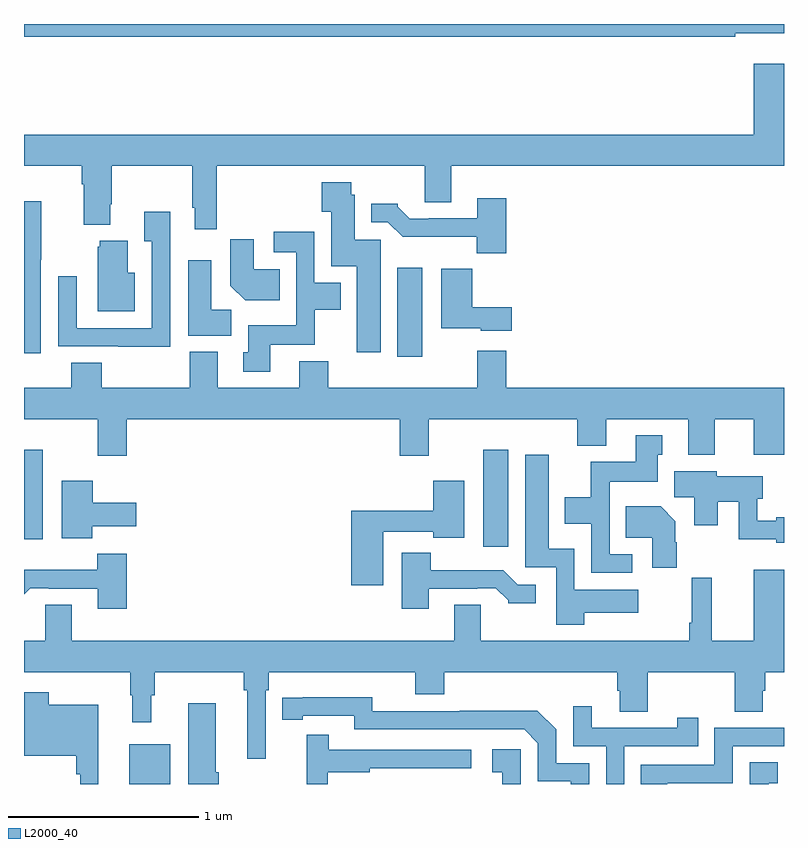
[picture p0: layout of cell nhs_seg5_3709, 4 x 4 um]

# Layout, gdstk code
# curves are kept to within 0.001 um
import gdstk
lib = gdstk.Library(unit=1e-6, precision=1e-09)
def R(c, l, rs):  # rectangles x0, y0, x1, y1
    for r in rs: c.add(gdstk.rectangle(r[:2], r[2:], *l))
def P(c, l, *ps):  # polygons
    for p in ps: c.add(gdstk.Polygon(p, *l))
L2000_40 = (2000, 40)

nhs_seg5_3709 = lib.new_cell('nhs_seg5_3709')
R(nhs_seg5_3709, L2000_40, [(329.555,894.799,329.77,895.009), (331.418,896.049,331.549,896.557), (329,896.088,329.098,896.557), (330.965,897.048,331.096,897.517)])
P(nhs_seg5_3709, L2000_40, [(332.744,898.751),(333,898.751),(333,898.799),(329,898.799),(329,898.732),(332.744,898.732)],
  [(330.014,898.052),(331.109,898.052),(331.109,897.862),(331.249,897.862),(331.249,898.052),(333,898.052),(333,898.591),(332.84,898.591),(332.84,898.216),(329,898.216),(329,898.052),(329.303,898.052),(329.303,897.956),(329.315,897.956),(329.315,897.743),(329.455,897.743),(329.455,897.85),(329.463,897.85),(329.463,898.052),(329.886,898.052),(329.886,897.832),(329.898,897.832),(329.898,897.72),(330.014,897.72)],
  [(330.877,897.663),(330.742,897.663),(330.742,897.9),(330.723,897.9),(330.723,897.967),(330.566,897.967),(330.566,897.811),(330.617,897.811),(330.617,897.524),(330.752,897.524),(330.752,897.072),(330.877,897.072)],
  [(331.538,897.883),(331.385,897.883),(331.385,897.777),(331.129,897.777),(331.129,897.774),(331.03,897.774),(330.966,897.838),(330.966,897.853),(330.827,897.853),(330.827,897.756),(330.915,897.756),(330.994,897.678),(331.383,897.678),(331.383,897.593),(331.538,897.593)],
  [(329.088,897.559),(329.091,897.559),(329.091,897.866),(329,897.866),(329,897.066),(329.088,897.066)],
  [(329.769,897.811),(329.633,897.811),(329.633,897.655),(329.673,897.655),(329.673,897.198),(329.277,897.198),(329.277,897.472),(329.181,897.472),(329.181,897.102),(329.497,897.102),(329.497,897.101),(329.769,897.101)],
  [(330.295,897.11),(330.531,897.11),(330.531,897.296),(330.667,897.296),(330.667,897.436),(330.528,897.436),(330.528,897.706),(330.315,897.706),(330.315,897.597),(330.432,897.597),(330.432,897.214),(330.179,897.214),(330.179,897.072),(330.155,897.072),(330.155,896.97),(330.295,896.97)],
  [(330.347,897.508),(330.208,897.508),(330.208,897.667),(330.086,897.667),(330.086,897.422),(330.164,897.344),(330.347,897.344)],
  [(329.584,897.49),(329.545,897.49),(329.545,897.658),(329.399,897.658),(329.399,897.627),(329.387,897.627),(329.387,897.287),(329.584,897.287)],
  [(330.091,897.296),(329.986,897.296),(329.986,897.556),(329.864,897.556),(329.864,897.158),(330.091,897.158)],
  [(331.567,897.307),(331.358,897.307),(331.358,897.511),(331.196,897.511),(331.196,897.197),(331.404,897.197),(331.404,897.185),(331.567,897.185)],
  [(331.538,897.079),(331.385,897.079),(331.385,896.884),(330.602,896.884),(330.602,897.025),(330.449,897.025),(330.449,896.884),(330.019,896.884),(330.019,897.073),(329.872,897.073),(329.872,896.884),(329.409,896.884),(329.409,897.017),(329.249,897.017),(329.249,896.884),(329,896.884),(329,896.72),(329.387,896.72),(329.387,896.526),(329.54,896.526),(329.54,896.72),(330.977,896.72),(330.977,896.526),(331.129,896.526),(331.129,896.72),(331.913,896.72),(331.913,896.579),(332.065,896.579),(332.065,896.72),(332.495,896.72),(332.495,896.531),(332.635,896.531),(332.635,896.72),(332.84,896.72),(332.84,896.532),(333,896.532),(333,896.884),(331.538,896.884)],
  [(332.2,896.007),(332.082,896.007),(332.082,896.39),(332.335,896.39),(332.335,896.532),(332.359,896.532),(332.359,896.635),(332.219,896.635),(332.219,896.494),(331.984,896.494),(331.984,896.308),(331.847,896.308),(331.847,896.168),(331.986,896.168),(331.986,895.911),(332.2,895.911)],
  [(331.949,895.7),(332.233,895.7),(332.233,895.822),(331.896,895.822),(331.896,896.038),(331.762,896.038),(331.762,896.533),(331.637,896.533),(331.637,895.941),(331.8,895.941),(331.8,895.638),(331.949,895.638)],
  [(333,896.204),(332.958,896.204),(332.958,896.184),(332.859,896.184),(332.859,896.301),(332.887,896.301),(332.887,896.419),(332.646,896.419),(332.646,896.446),(332.423,896.446),(332.423,896.308),(332.528,896.308),(332.528,896.16),(332.65,896.16),(332.65,896.285),(332.763,896.285),(332.763,896.087),(332.958,896.087),(332.958,896.068),(333,896.068)],
  [(330.892,896.127),(331.154,896.127),(331.154,896.096),(331.318,896.096),(331.318,896.395),(331.154,896.395),(331.154,896.236),(330.722,896.236),(330.722,895.845),(330.892,895.845)],
  [(329.36,896.156),(329.59,896.156),(329.59,896.278),(329.362,896.278),(329.362,896.395),(329.198,896.395),(329.198,896.093),(329.36,896.093)],
  [(332.436,896.072),(332.428,896.072),(332.428,896.182),(332.35,896.26),(332.167,896.26),(332.167,896.096),(332.306,896.096),(332.306,895.938),(332.436,895.938)],
  [(331.129,895.827),(331.385,895.827),(331.385,895.83),(331.484,895.83),(331.548,895.766),(331.548,895.751),(331.693,895.751),(331.693,895.848),(331.599,895.848),(331.523,895.924),(331.141,895.924),(331.141,896.017),(330.989,896.017),(330.989,895.722),(331.129,895.722)],
  [(329.54,896.011),(329.385,896.011),(329.385,895.927),(329,895.927),(329,895.798),(329.032,895.83),(329.131,895.83),(329.131,895.827),(329.387,895.827),(329.387,895.722),(329.54,895.722)],
  [(330.273,895.292),(330.287,895.292),(330.287,895.388),(331.058,895.388),(331.058,895.271),(331.211,895.271),(331.211,895.388),(332.123,895.388),(332.123,895.29),(332.135,895.29),(332.135,895.18),(332.283,895.18),(332.283,895.388),(332.74,895.388),(332.74,895.18),(332.887,895.18),(332.887,895.29),(332.9,895.29),(332.9,895.388),(333,895.388),(333,895.927),(332.84,895.927),(332.84,895.552),(332.619,895.552),(332.619,895.885),(332.515,895.885),(332.515,895.648),(332.5,895.648),(332.5,895.552),(331.405,895.552),(331.405,895.742),(331.265,895.742),(331.265,895.552),(329.251,895.552),(329.251,895.742),(329.111,895.742),(329.111,895.552),(329,895.552),(329,895.388),(329.559,895.388),(329.559,895.265),(329.57,895.265),(329.57,895.125),(329.669,895.125),(329.669,895.265),(329.687,895.265),(329.687,895.388),(330.157,895.388),(330.157,895.292),(330.176,895.292),(330.176,894.933),(330.273,894.933)],
  [(329.392,895.216),(329.131,895.216),(329.131,895.282),(329.002,895.282),(329.002,895.105),(329,895.105),(329,894.947),(329.275,894.947),(329.275,894.851),(329.295,894.851),(329.295,894.799),(329.392,894.799)],
  [(331.974,894.909),(331.8,894.909),(331.8,895.086),(331.702,895.184),(331.294,895.184),(331.294,895.182),(330.834,895.182),(330.834,895.255),(330.358,895.254),(330.358,895.138),(330.466,895.138),(330.466,895.158),(330.738,895.158),(330.738,895.086),(331.632,895.086),(331.704,895.014),(331.704,894.813),(331.877,894.813),(331.877,894.799),(331.974,894.799)],
  [(330.025,894.861),(330.01,894.861),(330.01,895.225),(329.864,895.225),(329.864,894.799),(330.025,894.799)],
  [(332.16,894.999),(332.549,894.999),(332.549,895.147),(332.438,895.147),(332.438,895.095),(331.987,895.095),(331.987,895.207),(331.89,895.207),(331.89,894.999),(332.064,894.999),(332.064,894.799),(332.16,894.799)],
  [(332.385,894.804),(332.73,894.804),(332.73,894.999),(333,894.999),(333,895.095),(332.634,895.095),(332.634,894.9),(332.245,894.9),(332.245,894.799),(332.385,894.799)],
  [(330.598,894.862),(330.821,894.862),(330.821,894.882),(331.354,894.882),(331.354,894.978),(330.605,894.978),(330.605,895.057),(330.488,895.057),(330.488,894.799),(330.598,894.799)],
  [(331.614,894.982),(331.464,894.982),(331.464,894.861),(331.517,894.861),(331.517,894.799),(331.614,894.799)],
  [(332.919,894.803),(332.968,894.803),(332.968,894.913),(332.82,894.913),(332.82,894.799),(332.919,894.799)])

lib.write_gds('nhs_seg5_3709.gds')
